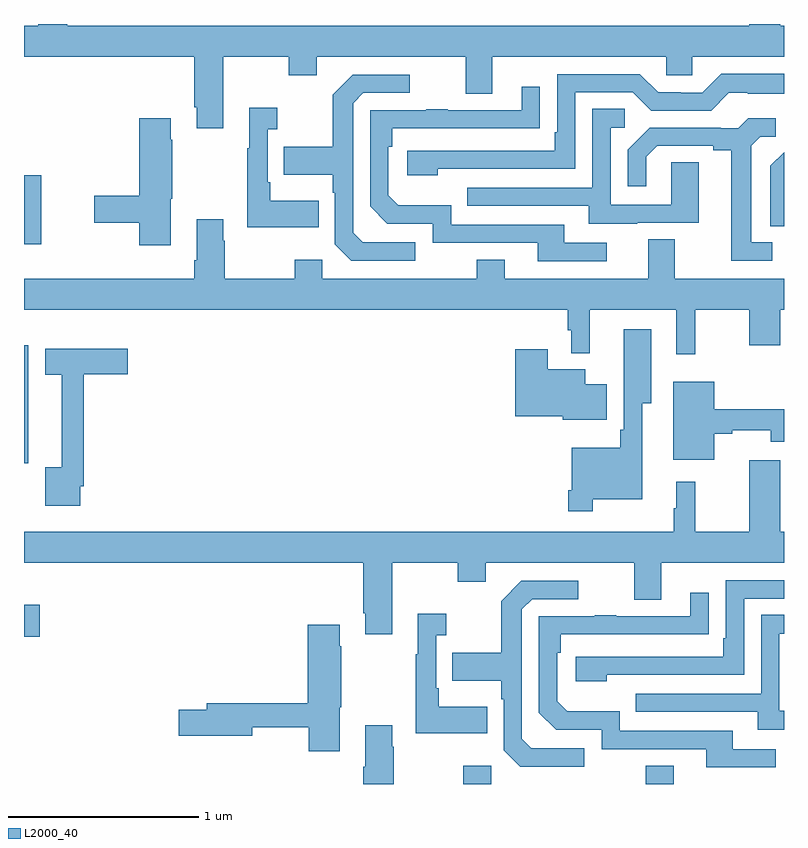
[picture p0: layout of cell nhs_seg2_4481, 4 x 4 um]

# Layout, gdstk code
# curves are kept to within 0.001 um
import gdstk
lib = gdstk.Library(unit=1e-6, precision=1e-09)
def R(c, l, rs):  # rectangles x0, y0, x1, y1
    for r in rs: c.add(gdstk.rectangle(r[:2], r[2:], *l))
def P(c, l, *ps):  # polygons
    for p in ps: c.add(gdstk.Polygon(p, *l))
L2000_40 = (2000, 40)

nhs_seg2_4481 = lib.new_cell('nhs_seg2_4481')
R(nhs_seg2_4481, L2000_40, [(355.312,651.8,355.458,651.895), (356.272,651.8,356.419,651.895), (353,652.574,353.083,652.744), (353,653.489,353.023,654.108), (353,654.642,353.092,655.003)])
P(nhs_seg2_4481, L2000_40, [(354.049,655.628),(354.394,655.628),(354.394,655.529),(354.541,655.529),(354.541,655.628),(355.325,655.628),(355.325,655.434),(355.465,655.434),(355.465,655.628),(356.379,655.628),(356.379,655.53),(356.517,655.53),(356.517,655.628),(357,655.628),(357,655.792),(356.98,655.792),(356.98,655.8),(356.816,655.8),(356.816,655.792),(353.227,655.792),(353.227,655.8),(353.075,655.8),(353.075,655.792),(353,655.792),(353,655.628),(353.897,655.628),(353.897,655.363),(353.909,655.363),(353.909,655.251),(354.049,655.251)],
  [(355.178,655.038),(355.902,655.038),(355.902,655.44),(356.205,655.44),(356.301,655.344),(356.616,655.344),(356.709,655.437),(356.809,655.437),(356.809,655.433),(357,655.433),(357,655.537),(356.671,655.537),(356.571,655.437),(356.456,655.437),(356.456,655.44),(356.337,655.44),(356.241,655.536),(355.806,655.536),(355.806,655.231),(355.793,655.231),(355.793,655.134),(355.017,655.134),(355.017,655.004),(355.178,655.004)],
  [(355.06,654.651),(354.783,654.651),(354.732,654.702),(354.732,655.383),(354.786,655.437),(355.03,655.437),(355.03,655.533),(354.729,655.533),(354.624,655.427),(354.624,655.155),(354.367,655.155),(354.367,655.007),(354.624,655.007),(354.624,654.911),(354.636,654.911),(354.636,654.642),(354.723,654.555),(355.06,654.555)],
  [(356.068,654.648),(355.843,654.648),(355.843,654.744),(355.248,654.744),(355.248,654.847),(354.971,654.847),(354.918,654.9),(354.918,655.154),(354.938,655.154),(354.938,655.251),(355.715,655.252),(355.715,655.471),(355.619,655.471),(355.619,655.347),(355.229,655.347),(355.229,655.352),(355.117,655.352),(355.117,655.347),(354.822,655.347),(354.822,654.84),(354.912,654.75),(355.152,654.75),(355.152,654.648),(355.703,654.648),(355.703,654.552),(356.068,654.552)],
  [(354.551,654.871),(354.295,654.871),(354.295,654.967),(354.282,654.967),(354.282,655.247),(354.334,655.247),(354.334,655.36),(354.185,655.36),(354.185,655.147),(354.174,655.147),(354.174,654.731),(354.551,654.731)],
  [(356.227,654.753),(356.551,654.753),(356.551,655.073),(356.406,655.073),(356.406,654.849),(356.088,654.849),(356.088,655.254),(356.161,655.254),(356.161,655.355),(355.992,655.355),(355.992,654.939),(355.333,654.939),(355.333,654.843),(355.973,654.843),(355.973,654.749),(356.227,654.749)],
  [(353.773,654.879),(353.781,654.879),(353.781,655.19),(353.773,655.19),(353.773,655.303),(353.606,655.303),(353.606,654.896),(353.37,654.896),(353.37,654.754),(353.606,654.754),(353.606,654.636),(353.773,654.636)],
  [(356.938,654.651),(356.827,654.651),(356.827,655.159),(356.874,655.206),(356.956,655.206),(356.956,655.303),(356.812,655.303),(356.76,655.251),(356.666,655.251),(356.666,655.254),(356.294,655.254),(356.178,655.138),(356.178,654.945),(356.275,654.945),(356.275,655.101),(356.332,655.158),(356.627,655.158),(356.627,655.136),(356.723,655.136),(356.723,654.555),(356.938,654.555)],
  [(357,655.126),(356.928,655.054),(356.928,654.736),(357,654.736)],
  [(356.534,654.296),(356.816,654.296),(356.816,654.108),(356.98,654.108),(356.98,654.296),(357,654.296),(357,654.46),(356.425,654.46),(356.425,654.668),(356.285,654.668),(356.285,654.46),(355.531,654.46),(355.531,654.559),(355.384,654.559),(355.384,654.46),(354.57,654.46),(354.57,654.559),(354.424,654.559),(354.424,654.46),(354.057,654.46),(354.057,654.659),(354.049,654.659),(354.049,654.772),(353.909,654.772),(353.909,654.556),(353.897,654.556),(353.897,654.46),(353,654.46),(353,654.296),(355.861,654.296),(355.861,654.189),(355.881,654.189),(355.881,654.068),(355.978,654.068),(355.978,654.296),(356.432,654.296),(356.432,654.063),(356.534,654.063)],
  [(355.993,653.3),(356.254,653.3),(356.254,653.804),(356.302,653.804),(356.302,654.193),(356.156,654.193),(356.156,653.665),(356.137,653.665),(356.137,653.569),(355.884,653.569),(355.884,653.347),(355.864,653.347),(355.864,653.235),(355.993,653.235)],
  [(353.296,653.368),(353.315,653.368),(353.315,653.957),(353.545,653.957),(353.545,654.091),(353.111,654.091),(353.111,653.954),(353.198,653.954),(353.198,653.467),(353.111,653.467),(353.111,653.264),(353.296,653.264)],
  [(356.068,653.905),(355.954,653.905),(355.954,653.983),(355.756,653.983),(355.756,654.088),(355.586,654.088),(355.586,653.735),(355.836,653.735),(355.836,653.717),(356.068,653.717)],
  [(356.632,653.644),(356.728,653.644),(356.728,653.663),(356.93,653.663),(356.93,653.602),(357,653.602),(357,653.773),(356.632,653.773),(356.632,653.917),(356.417,653.917),(356.417,653.507),(356.632,653.507)],
  [(354.937,652.964),(355.282,652.964),(355.282,652.865),(355.429,652.865),(355.429,652.964),(356.213,652.964),(356.213,652.77),(356.353,652.77),(356.353,652.964),(357,652.964),(357,653.128),(356.98,653.128),(356.98,653.503),(356.816,653.503),(356.816,653.128),(356.534,653.128),(356.534,653.392),(356.432,653.392),(356.432,653.252),(356.421,653.252),(356.421,653.128),(353,653.128),(353,652.964),(354.785,652.964),(354.785,652.699),(354.797,652.699),(354.797,652.587),(354.937,652.587)],
  [(356.066,652.374),(356.79,652.374),(356.79,652.776),(357,652.776),(357,652.872),(356.694,652.872),(356.694,652.567),(356.681,652.567),(356.681,652.47),(355.905,652.47),(355.905,652.34),(356.066,652.34)],
  [(355.948,651.987),(355.671,651.987),(355.62,652.038),(355.62,652.719),(355.674,652.773),(355.918,652.773),(355.918,652.869),(355.617,652.869),(355.512,652.763),(355.512,652.491),(355.255,652.491),(355.255,652.343),(355.512,652.343),(355.512,652.247),(355.524,652.247),(355.524,651.978),(355.611,651.891),(355.948,651.891)],
  [(356.956,651.984),(356.731,651.984),(356.731,652.08),(356.136,652.08),(356.136,652.183),(355.859,652.183),(355.806,652.236),(355.806,652.49),(355.826,652.49),(355.826,652.587),(356.603,652.588),(356.603,652.807),(356.507,652.807),(356.507,652.683),(356.117,652.683),(356.117,652.688),(356.005,652.688),(356.005,652.683),(355.71,652.683),(355.71,652.176),(355.8,652.086),(356.04,652.086),(356.04,651.984),(356.591,651.984),(356.591,651.888),(356.956,651.888)],
  [(355.439,652.207),(355.183,652.207),(355.183,652.303),(355.17,652.303),(355.17,652.583),(355.222,652.583),(355.222,652.696),(355.073,652.696),(355.073,652.483),(355.062,652.483),(355.062,652.067),(355.439,652.067)],
  [(357,652.185),(356.976,652.185),(356.976,652.59),(357,652.59),(357,652.691),(356.88,652.691),(356.88,652.275),(356.221,652.275),(356.221,652.179),(356.861,652.179),(356.861,652.085),(357,652.085)],
  [(354.661,652.203),(354.669,652.203),(354.669,652.526),(354.661,652.526),(354.661,652.639),(354.494,652.639),(354.494,652.226),(353.963,652.226),(353.963,652.19),(353.814,652.19),(353.814,652.055),(354.202,652.055),(354.202,652.098),(354.499,652.098),(354.499,651.972),(354.661,651.972)],
  [(354.945,651.995),(354.937,651.995),(354.937,652.108),(354.797,652.108),(354.797,651.892),(354.785,651.892),(354.785,651.8),(354.945,651.8)])

lib.write_gds('nhs_seg2_4481.gds')
